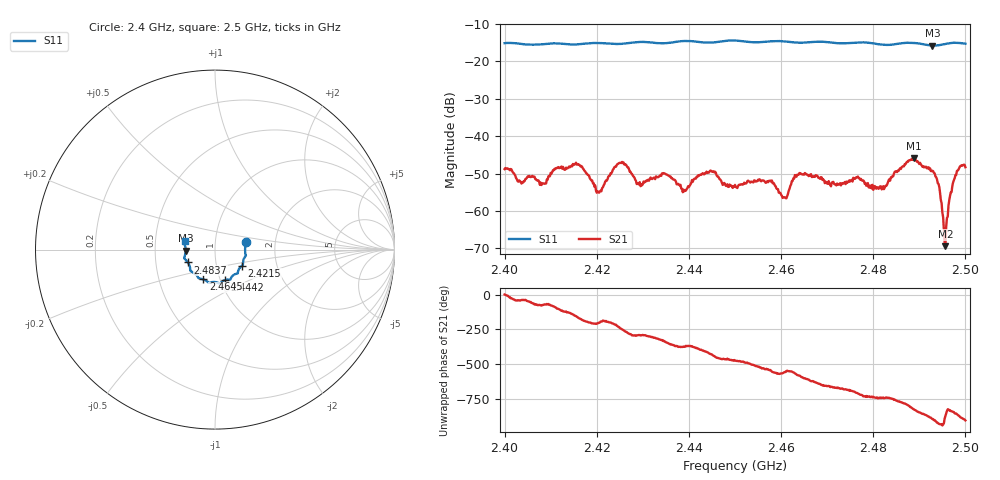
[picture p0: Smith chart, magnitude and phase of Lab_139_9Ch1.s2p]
# Hz S RI R 50
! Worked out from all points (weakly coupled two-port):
!   601 points, 2.4 GHz to 2.5 GHz, reference 50 ohm
!   highest |S21| = -45.93 dB at 2.4888 GHz (marker M1); lowest = -69.4 dB at 2.4957 GHz (marker M2)
!   lowest |S11| = -15.7 dB at 2.4928 GHz (marker M3), VSWR 1.39, Z = 35.9 - j0.386 ohm
!   |S11| at or under -10 dB: start of sweep to end of sweep
!   S12 and S22 are empty: the file has one direction only
!   S11 on the Smith chart (normalised r, x): 2.4 GHz: 1.41, +0.12; 2.4215 GHz: 1.33, -0.25; 2.4442 GHz: 1.05, -0.37; 2.4645 GHz: 0.83, -0.29; 2.4837 GHz: 0.73, -0.11; 2.5 GHz: 0.71, +0.07
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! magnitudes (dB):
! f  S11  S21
! 2.4 GHz  -15.1  -48.8
! 2.4082 GHz  -15.4  -52.6
! 2.4167 GHz  -15.3  -48.0
! 2.4215 GHz  -15.1  -53.1
! 2.4253 GHz  -15.3  -47.2
! 2.4292 GHz  -14.8  -52.9
! 2.4333 GHz  -15.1  -51.0
! 2.439 GHz  -14.5  -54.7
! 2.4442 GHz  -15.0  -49.8
! 2.45 GHz  -14.4  -53.0
! 2.4575 GHz  -14.6  -52.0
! 2.4608 GHz  -14.6  -56.4
! 2.4645 GHz  -15.0  -50.2
! 2.4667 GHz  -14.8  -50.9
! 2.4833 GHz  -15.6  -51.8
! 2.4837 GHz  -15.5  -51.9
! 2.4888 GHz  -15.0  -45.9
! 2.4928 GHz  -15.7  -49.2
! 2.494 GHz  -15.7  -52.5
! 2.4957 GHz  -15.3  -69.4
! 2.4977 GHz  -15.0  -51.2
! 2.5 GHz  -15.2  -48.3
